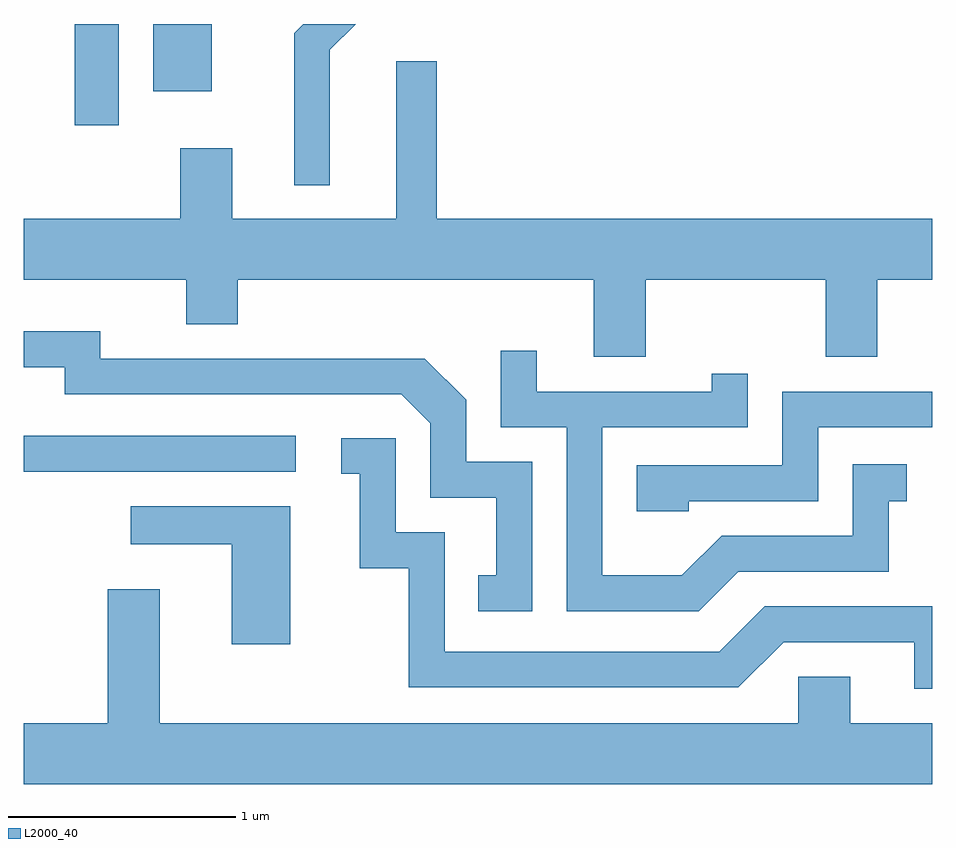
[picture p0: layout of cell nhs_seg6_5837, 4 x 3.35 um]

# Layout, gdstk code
import gdstk
lib = gdstk.Library(unit=1e-6, precision=1e-09)
def R(c, l, rs):  # rectangles x0, y0, x1, y1
    for r in rs: c.add(gdstk.rectangle(r[:2], r[2:], *l))
def P(c, l, *ps):  # polygons
    for p in ps: c.add(gdstk.Polygon(p, *l))
L2000_40 = (2000, 40)

nhs_seg6_5837 = lib.new_cell('nhs_seg6_5837')
R(nhs_seg6_5837, L2000_40, [(361.611,1660.191,362.808,1660.349), (361.836,1661.716,362.029,1662.162), (362.181,1661.866,362.439,1662.162)])
P(nhs_seg6_5837, L2000_40, [(362.959,1662.049),(363.073,1662.162),(362.841,1662.162),(362.801,1662.122),(362.801,1661.453),(362.959,1661.453)],
  [(364.349,1661.036),(365.141,1661.036),(365.141,1660.696),(365.369,1660.696),(365.369,1661.036),(365.611,1661.036),(365.611,1661.304),(363.429,1661.304),(363.429,1661.999),(363.251,1661.999),(363.251,1661.304),(362.529,1661.304),(362.529,1661.614),(362.301,1661.614),(362.301,1661.304),(361.611,1661.304),(361.611,1661.036),(362.326,1661.036),(362.326,1660.841),(362.554,1660.841),(362.554,1661.036),(364.121,1661.036),(364.121,1660.696),(364.349,1660.696)],
  [(363.849,1660.234),(363.559,1660.234),(363.559,1660.507),(363.377,1660.689),(361.949,1660.689),(361.949,1660.809),(361.611,1660.809),(361.611,1660.651),(361.791,1660.651),(361.791,1660.531),(363.274,1660.531),(363.401,1660.404),(363.401,1660.076),(363.691,1660.076),(363.691,1659.734),(363.613,1659.734),(363.613,1659.576),(363.849,1659.576)],
  [(364.757,1659.751),(365.419,1659.751),(365.419,1660.061),(365.498,1660.061),(365.498,1660.224),(365.261,1660.224),(365.261,1659.909),(364.684,1659.909),(364.509,1659.734),(364.159,1659.734),(364.159,1660.386),(364.799,1660.386),(364.799,1660.623),(364.641,1660.623),(364.641,1660.544),(363.869,1660.544),(363.869,1660.723),(363.711,1660.723),(363.711,1660.386),(364.001,1660.386),(364.001,1659.576),(364.582,1659.576)],
  [(364.539,1660.061),(365.109,1660.061),(365.109,1660.386),(365.611,1660.386),(365.611,1660.544),(364.951,1660.544),(364.951,1660.219),(364.311,1660.219),(364.311,1660.016),(364.539,1660.016)],
  [(365.611,1659.599),(364.874,1659.599),(364.674,1659.399),(363.464,1659.399),(363.464,1659.924),(363.249,1659.924),(363.249,1660.339),(363.008,1660.339),(363.008,1660.181),(363.091,1660.181),(363.091,1659.766),(363.306,1659.766),(363.306,1659.241),(364.757,1659.241),(364.957,1659.441),(365.531,1659.441),(365.531,1659.236),(365.611,1659.236)],
  [(362.784,1660.039),(362.083,1660.039),(362.083,1659.871),(362.526,1659.871),(362.526,1659.431),(362.784,1659.431)],
  [(365.611,1659.084),(365.249,1659.084),(365.249,1659.289),(365.021,1659.289),(365.021,1659.084),(362.209,1659.084),(362.209,1659.674),(361.981,1659.674),(361.981,1659.084),(361.611,1659.084),(361.611,1658.816),(365.611,1658.816)])

lib.write_gds('nhs_seg6_5837.gds')
